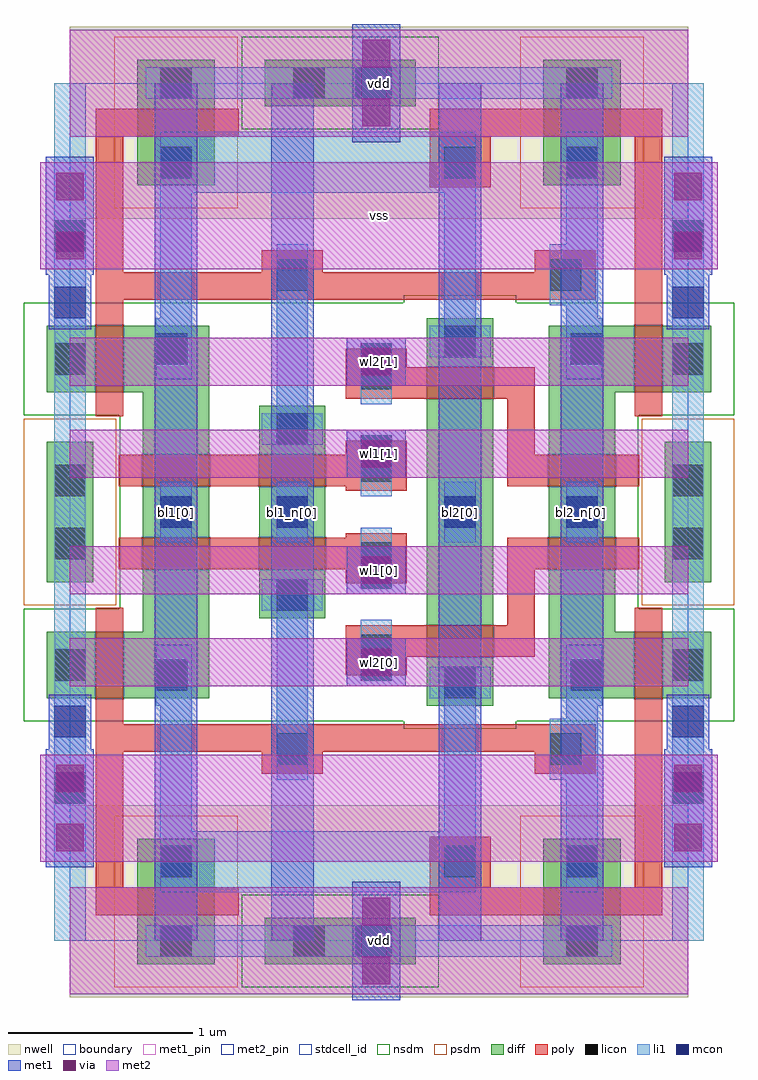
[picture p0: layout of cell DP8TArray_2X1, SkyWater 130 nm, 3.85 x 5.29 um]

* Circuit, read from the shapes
.subckt DP8TArray_2X1 bl1[0] bl1_n[0] bl2[0] bl2_n[0] vdd vss wl1[0] wl1[1] wl2[0] wl2[1]
XM1 n1 n2 vss VSUBS sky130_fd_pr__nfet_01v8 w=0.36 l=0.15
XM2 n3 n4 vss VSUBS sky130_fd_pr__nfet_01v8 w=0.36 l=0.15
XM3 bl1[0] wl1[0] n1 VSUBS sky130_fd_pr__nfet_01v8 w=0.36 l=0.17
XM4 n3 wl1[1] bl1[0] VSUBS sky130_fd_pr__nfet_01v8 w=0.36 l=0.17
XM5 bl1_n[0] wl1[0] n2 VSUBS sky130_fd_pr__nfet_01v8 w=0.36 l=0.17
XM6 n4 wl1[1] bl1_n[0] VSUBS sky130_fd_pr__nfet_01v8 w=0.36 l=0.17
XM7 bl2[0] wl2[0] n1 VSUBS sky130_fd_pr__nfet_01v8 w=0.36 l=0.17
XM8 n3 wl2[1] bl2[0] VSUBS sky130_fd_pr__nfet_01v8 w=0.36 l=0.17
XM9 bl2_n[0] wl2[0] n2 VSUBS sky130_fd_pr__nfet_01v8 w=0.36 l=0.17
XM10 n4 wl2[1] bl2_n[0] VSUBS sky130_fd_pr__nfet_01v8 w=0.36 l=0.17
XM11 vss n1 n2 VSUBS sky130_fd_pr__nfet_01v8 w=0.36 l=0.15
XM12 vss n3 n4 VSUBS sky130_fd_pr__nfet_01v8 w=0.36 l=0.15
XM13 n1 n2 vdd n5 sky130_fd_pr__pfet_01v8 w=0.42 l=0.15
XM14 vdd n4 n3 n6 sky130_fd_pr__pfet_01v8 w=0.42 l=0.15
XM15 n2 n1 vdd n5 sky130_fd_pr__pfet_01v8 w=0.42 l=0.15
XM16 vdd n3 n4 n6 sky130_fd_pr__pfet_01v8 w=0.42 l=0.15
.ends

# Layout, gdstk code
import gdstk
lib = gdstk.Library(unit=1e-6, precision=1e-09)
def R(c, l, rs):  # rectangles x0, y0, x1, y1
    for r in rs: c.add(gdstk.rectangle(r[:2], r[2:], *l))
def P(c, l, *ps):  # polygons
    for p in ps: c.add(gdstk.Polygon(p, *l))
nwell = (64, 20)
diff = (65, 20)
poly = (66, 20)
licon = (66, 44)
li1 = (67, 20)
mcon = (67, 44)
met1_pin = (68, 16)
met1 = (68, 20)
via = (68, 44)
met2_pin = (69, 16)
met2 = (69, 20)
stdcell_id = (81, 4)
nsdm = (93, 44)
psdm = (94, 20)
boundary = (235, 4)

dp8tcell = lib.new_cell('DP8TCell')
R(dp8tcell, nwell, [(0,1.59,3.35,2.63)])
R(dp8tcell, diff, [(-0.125,-0.38,0.125,0.38), (3.225,-0.38,3.475,0.38), (1.025,-0.125,1.385,0.575), (1.935,-0.125,2.295,1.05), (0.365,1.77,0.785,2.45), (2.565,1.77,2.985,2.45), (1.055,2.2,1.875,2.45)])
P(dp8tcell, diff, [(0.395,-0.125),(0.395,0.65),(-0.125,0.65),(-0.125,1.01),(0.755,1.01),(0.755,-0.125)],
  [(2.595,-0.125),(2.595,1.01),(3.475,1.01),(3.475,0.65),(2.955,0.65),(2.955,-0.125)])
P(dp8tcell, poly, [(3.06,0.52),(3.06,2.035),(2.28,2.035),(2.28,1.76),(1.95,1.76),(1.95,2.185),(3.21,2.185),(3.21,0.52)],
  [(0.14,0.52),(0.14,2.185),(0.915,2.185),(0.915,2.035),(0.29,2.035),(0.29,1.3),(1.04,1.3),(1.04,1.42),(1.37,1.42),(1.37,1.3),(2.52,1.3),(2.52,1.42),(2.85,1.42),(2.85,1.15),(0.29,1.15),(0.29,0.52)],
  [(1.495,0.115),(1.495,0.14),(0.265,0.14),(0.265,0.31),(1.495,0.31),(1.495,0.385),(1.825,0.385),(1.825,0.115)],
  [(2.37,0.14),(2.37,0.615),(1.495,0.615),(1.495,0.885),(1.825,0.885),(1.825,0.785),(2.52,0.785),(2.52,0.31),(3.085,0.31),(3.085,0.14)])
R(dp8tcell, licon, [(-0.085,-0.255,0.085,-0.085), (3.265,-0.255,3.435,-0.085), (0.49,-0.085,0.66,0.085), (1.12,-0.085,1.29,0.085), (2.03,-0.085,2.2,0.085), (2.69,-0.085,2.86,0.085), (-0.085,0.085,0.085,0.255), (3.265,0.085,3.435,0.255), (1.575,0.165,1.745,0.335), (1.12,0.365,1.29,0.535), (1.575,0.665,1.745,0.835), (-0.085,0.745,0.085,0.915), (3.265,0.745,3.435,0.915), (0.465,0.8,0.635,0.97), (2.715,0.8,2.885,0.97), (2.03,0.84,2.2,1.01), (1.12,1.2,1.29,1.37), (2.6,1.2,2.77,1.37), (0.49,1.81,0.66,1.98), (2.03,1.81,2.2,1.98), (2.69,1.81,2.86,1.98), (0.49,2.24,0.66,2.41), (1.21,2.24,1.38,2.41), (1.55,2.24,1.72,2.41), (2.69,2.24,2.86,2.41)])
R(dp8tcell, li1, [(-0.085,-0.335,0.085,2.325), (3.265,-0.335,3.435,2.325), (0.49,-0.165,0.66,0.165), (1.12,-0.165,1.29,0.165), (2.03,-0.165,2.2,0.165), (2.69,-0.165,2.86,0.165), (1.575,0.085,1.745,0.415), (1.575,0.585,1.745,0.915), (0.41,2.24,2.94,2.41)])
P(dp8tcell, li1, [(0.465,0.72),(0.465,1.05),(0.49,1.05),(0.49,2.06),(2.2,2.06),(2.2,1.01),(2.28,1.01),(2.28,0.84),(1.95,0.84),(1.95,1.01),(2.03,1.01),(2.03,1.73),(0.66,1.73),(0.66,0.72)],
  [(2.69,0.72),(2.69,1.12),(2.6,1.12),(2.6,1.45),(2.69,1.45),(2.69,2.06),(2.86,2.06),(2.86,1.05),(2.885,1.05),(2.885,0.72)],
  [(1.04,0.365),(1.04,0.535),(1.12,0.535),(1.12,1.45),(1.29,1.45),(1.29,0.535),(1.37,0.535),(1.37,0.365)])
R(dp8tcell, mcon, [(0.49,-0.085,0.66,0.085), (1.12,-0.085,1.29,0.085), (2.03,-0.085,2.2,0.085), (2.69,-0.085,2.86,0.085), (1.575,0.245,1.745,0.415), (1.575,0.745,1.745,0.915), (-0.085,1.05,0.085,1.22), (3.265,1.05,3.435,1.22), (-0.085,1.41,0.085,1.58), (3.265,1.41,3.435,1.58), (1.575,2.24,1.745,2.41)])
R(dp8tcell, met1_pin, [(0.46,-0.145,0.69,2.325), (1.09,-0.145,1.32,2.325), (2,-0.145,2.23,2.325), (2.66,-0.145,2.89,2.325)])
R(dp8tcell, met1, [(0.46,-0.145,0.69,2.325), (1.09,-0.145,1.32,2.325), (2,-0.145,2.23,2.325), (2.66,-0.145,2.89,2.325), (1.5,0.185,1.82,0.445), (1.5,0.685,1.82,0.945), (1.53,2.005,1.79,2.645)])
P(dp8tcell, met1, [(-0.115,0.99),(-0.115,1.285),(-0.13,1.285),(-0.13,1.925),(0.13,1.925),(0.13,1.285),(0.115,1.285),(0.115,0.99)],
  [(3.235,0.99),(3.235,1.285),(3.22,1.285),(3.22,1.925),(3.48,1.925),(3.48,1.285),(3.465,1.285),(3.465,0.99)])
R(dp8tcell, via, [(1.585,0.24,1.735,0.39), (1.585,0.74,1.735,0.89), (-0.075,1.37,0.075,1.52), (3.275,1.37,3.425,1.52), (-0.075,1.69,0.075,1.84), (3.275,1.69,3.425,1.84), (1.585,2.09,1.735,2.24), (1.585,2.41,1.735,2.56)])
R(dp8tcell, met2_pin, [(0,0.185,3.35,0.445), (0,0.685,3.35,0.945), (-0.16,1.315,3.51,1.895), (0,2.035,3.35,2.615)])
R(dp8tcell, met2, [(0,0.185,3.35,0.445), (0,0.685,3.35,0.945), (-0.16,1.315,3.51,1.895), (0,2.035,3.35,2.615)])
R(dp8tcell, stdcell_id, [(0.39,0.135,0.76,0.315), (1.02,0.135,1.39,0.315), (2.59,0.135,2.96,0.315), (1.93,0.61,2.3,0.79), (0.135,0.645,0.295,1.015), (3.055,0.645,3.215,1.015)])
R(dp8tcell, nsdm, [(0.93,2.075,2,2.575)])
P(dp8tcell, nsdm, [(0.27,-0.25),(0.27,0.525),(-0.25,0.525),(-0.25,1.135),(1.81,1.135),(1.81,1.175),(2.42,1.175),(2.42,1.135),(3.6,1.135),(3.6,0.525),(3.08,0.525),(3.08,-0.25)])
R(dp8tcell, psdm, [(-0.25,-0.505,0.25,0.505), (3.1,-0.505,3.6,0.505), (0.24,1.645,0.91,2.575), (2.44,1.645,3.11,2.575)])
R(dp8tcell, boundary, [(0,0,3.35,2.325)])
dp8tcell.add(gdstk.Label('vss', (1.675,1.605), layer=69, texttype=16))
dp8tcell.add(gdstk.Label('wl1', (1.675,0.315), layer=69, texttype=16))
dp8tcell.add(gdstk.Label('wl2', (1.675,0.815), layer=69, texttype=16))
dp8tcell.add(gdstk.Label('vdd', (1.675,2.325), layer=69, texttype=16))
dp8tcell.add(gdstk.Label('bl1', (0.575,1.09), layer=68, texttype=16))
dp8tcell.add(gdstk.Label('bl1_n', (1.205,1.09), layer=68, texttype=16))
dp8tcell.add(gdstk.Label('bl2', (2.115,1.09), layer=68, texttype=16))
dp8tcell.add(gdstk.Label('bl2_n', (2.775,1.09), layer=68, texttype=16))

dp8tarray_2x1 = lib.new_cell('DP8TArray_2X1')
R(dp8tarray_2x1, met1_pin, [(0.46,0,0.69,4.65), (1.09,0,1.32,4.65), (2,0,2.23,4.65), (2.66,0,2.89,4.65)])
R(dp8tarray_2x1, met1, [(0.46,0,0.69,4.65), (1.09,0,1.32,4.65), (2,0,2.23,4.65), (2.66,0,2.89,4.65)])
R(dp8tarray_2x1, met2_pin, [(0,-0.29,3.35,0.29), (0,1.38,3.35,1.64), (0,1.88,3.35,2.14), (0,2.51,3.35,2.77), (0,3.01,3.35,3.27), (0,3.64,3.35,4.22), (0,4.36,3.35,4.94)])
R(dp8tarray_2x1, met2, [(0,-0.29,3.35,0.29), (0,1.38,3.35,1.64), (0,1.88,3.35,2.14), (0,2.51,3.35,2.77), (0,3.01,3.35,3.27), (0,3.64,3.35,4.22), (0,4.36,3.35,4.94)])
R(dp8tarray_2x1, boundary, [(0,0,3.35,4.65)])
dp8tarray_2x1.add(gdstk.Reference(dp8tcell, (0,2.325), x_reflection=True))
dp8tarray_2x1.add(gdstk.Reference(dp8tcell, (0,2.325)))
dp8tarray_2x1.add(gdstk.Label('vss', (1.675,3.93), layer=69, texttype=16))
dp8tarray_2x1.add(gdstk.Label('vdd', (1.675,4.65), layer=69, texttype=16))
dp8tarray_2x1.add(gdstk.Label('vdd', (1.675,0), layer=69, texttype=16))
dp8tarray_2x1.add(gdstk.Label('wl1[0]', (1.675,2.01), layer=69, texttype=16))
dp8tarray_2x1.add(gdstk.Label('wl2[0]', (1.675,1.51), layer=69, texttype=16))
dp8tarray_2x1.add(gdstk.Label('wl1[1]', (1.675,2.64), layer=69, texttype=16))
dp8tarray_2x1.add(gdstk.Label('wl2[1]', (1.675,3.14), layer=69, texttype=16))
dp8tarray_2x1.add(gdstk.Label('bl1[0]', (0.575,2.325), layer=68, texttype=16))
dp8tarray_2x1.add(gdstk.Label('bl1_n[0]', (1.205,2.325), layer=68, texttype=16))
dp8tarray_2x1.add(gdstk.Label('bl2[0]', (2.115,2.325), layer=68, texttype=16))
dp8tarray_2x1.add(gdstk.Label('bl2_n[0]', (2.775,2.325), layer=68, texttype=16))

lib.write_gds('DP8TArray_2X1.gds')
